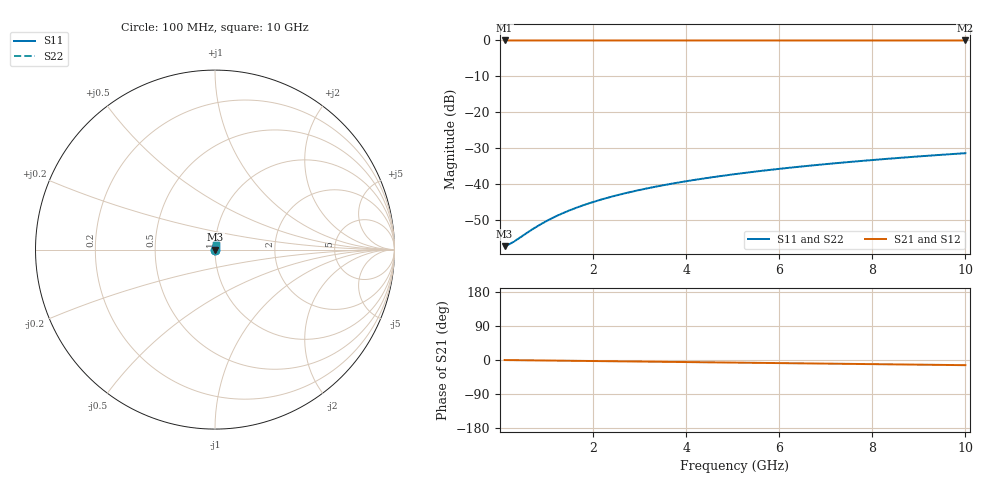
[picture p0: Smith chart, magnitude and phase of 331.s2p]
# Hz S RI R 50.00
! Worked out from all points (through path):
!   100 points, 100 MHz to 10 GHz, reference 50 ohm
!   highest |S21| = -0.01 dB at 100 MHz (marker M1); lowest = 0.0 dB at 10 GHz (marker M2)
!   group delay of S21, straight-line fit = 3.79 ps
!   lowest |S11| = -57.4 dB at 100 MHz (marker M3), VSWR 1.00, Z = 50.1 + j0.0267 ohm
!   |S11| at or under -10 dB: start of sweep to end of sweep
!   |S22| runs from -57.4 to -31.5 dB; largest |S21 - S12| = 0
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1e8  0.00132 0.000266  0.9987 -0.00237  0.9987 -0.00237  0.00132 0.000266
2e8  0.00133 0.000532  0.9987 -0.00474  0.9987 -0.00474  0.00133 0.000532
3e8  0.00134 0.000798  0.9986 -0.0071  0.9986 -0.0071  0.00134 0.000798
6e8  0.00136 0.0016  0.9985 -0.0142  0.9985 -0.0142  0.00136 0.0016
8e8  0.00139 0.00213  0.9985 -0.0189  0.9985 -0.0189  0.00139 0.00213
9e8  0.0014 0.00239  0.9984 -0.0213  0.9984 -0.0213  0.0014 0.00239
1.1e9  0.00143 0.00292  0.9983 -0.026  0.9983 -0.026  0.00143 0.00292
1.4e9  0.00148 0.00372  0.9981 -0.0331  0.9981 -0.0331  0.00148 0.00372
1.6e9  0.00152 0.00425  0.9979 -0.0379  0.9979 -0.0379  0.00152 0.00425
1.8e9  0.00157 0.00478  0.9977 -0.0426  0.9977 -0.0426  0.00157 0.00478
2.1e9  0.00164 0.00557  0.9973 -0.0497  0.9973 -0.0497  0.00164 0.00557
2.5e9  0.00176 0.00663  0.9968 -0.0592  0.9968 -0.0592  0.00176 0.00663
2.9e9  0.0019 0.00768  0.9962 -0.0687  0.9962 -0.0687  0.0019 0.00768
3.4e9  0.0021 0.00899  0.9953 -0.0805  0.9953 -0.0805  0.0021 0.00899
3.8e9  0.00229 0.01  0.9944 -0.0899  0.9944 -0.0899  0.00229 0.01
4.2e9  0.00249 0.0111  0.9935 -0.0994  0.9935 -0.0994  0.00249 0.0111
5.1e9  0.00302 0.0134  0.9911 -0.1207  0.9911 -0.1207  0.00302 0.0134
5.9e9  0.00358 0.0154  0.9886 -0.1395  0.9886 -0.1395  0.00358 0.0154
6.7e9  0.00421 0.0175  0.9857 -0.1584  0.9857 -0.1584  0.00421 0.0175
7.5e9  0.00492 0.0195  0.9824 -0.1772  0.9824 -0.1772  0.00492 0.0195
8.4e9  0.00581 0.0217  0.9783 -0.1983  0.9783 -0.1983  0.00581 0.0217
1e10  0.00764 0.0256  0.9698 -0.2356  0.9698 -0.2356  0.00764 0.0256
